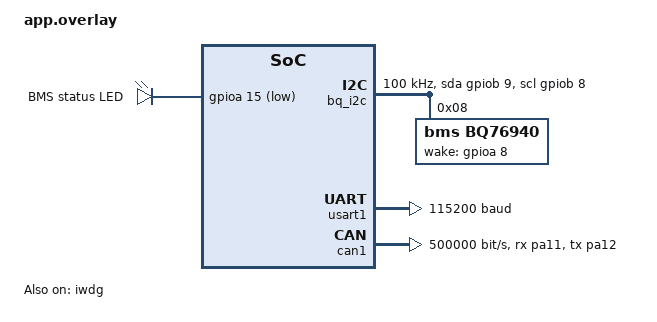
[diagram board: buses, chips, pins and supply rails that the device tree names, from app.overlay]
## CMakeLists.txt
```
cmake_minimum_required(VERSION 3.20.0)

# 项目自带 devicetree binding(dts/bindings/afe/*.yaml)
list(APPEND DTS_ROOT ${CMAKE_CURRENT_SOURCE_DIR})

find_package(Zephyr REQUIRED HINTS $ENV{ZEPHYR_BASE})
project(FlexLoVoBMS)

# 头文件与源文件同住各层文件夹(模块=一个文件夹)。include 根 = src + drivers,
# 于是每行 #include 都带层前缀(如 "afe/bms_afe.h"、"sensor/bms_ntc.h"、"algo/...")
# ——依赖关系写在脸上:打开任一 .c 的 include 列表就是它"依赖哪些层"的地图。
target_include_directories(app PRIVATE src drivers)

target_sources(app PRIVATE
    src/main.c
    # 应用层 - 纯函数算法/策略(可主机侧单测)
    src/algo/bms_protection_policy.c
    src/algo/bms_charge_policy.c
    src/algo/bms_balance_policy.c
    src/algo/bms_energy_estimator.c
    src/algo/bms_protocol_codec.c
    src/algo/bms_diag_format.c
    # 应用层 - 任务编排
    src/tasks/sample_task.c
    src/tasks/fault_protection_task.c
    src/tasks/charge_state_task.c
    src/tasks/balance_task.c
    src/tasks/soc_energy_task.c
    src/tasks/can_comm_task.c
    src/tasks/comm_diag_task.c
    src/tasks/auxiliary_task.c
    # 应用层 - 共享设施(状态仓库/心跳/装配根共享对象)
    src/core/bms_state_store.c
    src/core/bms_heartbeat.c
    src/core/app_objects.c
    src/core/bms_ota_boot.c
    # 设备驱动层 - AFE 接口(dispatch,vtable 派发,自身不碰硬件)+ 具体设备,同住 drivers/afe/
    drivers/afe/bms_afe.c
    # 设备驱动层 - BQ769x0 家族核 + 每芯片薄驱动(认领 compatible)
    drivers/afe/bq769x0_core.c
    drivers/afe/bms_bq76940.c
    drivers/afe/bms_bq76930.c
    # 设备驱动层 - BQ79616-Q1 车规局链骨架(未写完,见 TODO(bq79616))
    drivers/afe/bms_bq79616.c
    # 传感器层 - NTC 热敏电阻 mV->温度换算(与 AFE 芯片解耦)
    drivers/sensor/bms_ntc.c
    # 指示层 - 状态灯(GPIO 闪烁 / PWM 呼吸,编译期二选一)
    drivers/indicator/bms_status_led.c
)

if(CONFIG_BMS_TEST_TELEMETRY)
    target_sources(app PRIVATE src/core/bms_test_telemetry.c)
endif()

# ==========================================================================
# 依赖注入机制——第 0 层（构建系统侧）：登记自定义 linker 段
# ==========================================================================
#
# zephyr_linker_sources 将 app_task_iterable.ld 合并到最终链接脚本中，
# 从而登记 app_task_def 这个 iterable section。
#
# 少了这一行，链接器不认识 app_task_def 段，STRUCT_SECTION_FOREACH 的
# _start / _end 符号未定义，直接链接失败。
#
# app_task_iterable.ld 内部用 ITERABLE_SECTION_RAM 宏（Zephyr 提供），
# 效果等价于手写：
#     .app_task_def : {
#         _app_task_def_list_start = .;
#         KEEP(*(SORT_BY_NAME(.app_task_def.*)));
#         _app_task_def_list_end = .;
#     } > RAM
#
# 而 APP_TASK_REGISTER 宏中的 STRUCT_SECTION_ITERABLE 将每个任务条目
# 放入 `.app_task_def.<name>` 段中，链接器自动收集并排序。
zephyr_linker_sources(DATA_SECTIONS app_task_iterable.ld)
```

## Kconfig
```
mainmenu "BMS Firmware"

config BMS_TEST_TELEMETRY
	bool "Enable test-only runtime telemetry"
	default n
	help
	  Emit machine-readable thread stack and scheduler samples for the
	  Renode test dashboard. Keep this disabled in shipping builds.

config BMS_TEST_SKIP_WATCHDOG_FEED
	bool "Skip watchdog feeds for reset testing"
	default n
	depends on BMS_TEST_TELEMETRY
	help
	  Keep the application tasks running but intentionally stop feeding the
	  watchdog. This is only for a deliberate watchdog-reset test image.

source "Kconfig.zephyr"
```

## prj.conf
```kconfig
# 平台能力开关归 Kconfig;业务参数归 src/config/appconfig.h
CONFIG_SERIAL=y
CONFIG_CONSOLE=y
CONFIG_UART_CONSOLE=y
CONFIG_PRINTK=y
CONFIG_I2C=y
CONFIG_GPIO=y
CONFIG_CAN=y
# OTA:ENTER_OTA 命令用 sys_reboot() 冷复位到 Bootloader
CONFIG_REBOOT=y

# BQ76940 走软件 I2C(GPIO 位翻转,见 app.overlay 的 gpio-i2c 节点)。
# CONFIG_I2C_GPIO 不在此硬写:它在 devicetree 有 gpio-i2c 节点时 default y
# 自动开,仿真切到硬件 I2C overlay 时自动关,避免 Kconfig 冲突。
# 时钟延展保持默认开(真机 BQ 可能拉 SCL)。

CONFIG_MULTITHREADING=y
CONFIG_EVENTS=y
CONFIG_MAIN_STACK_SIZE=768
CONFIG_IDLE_STACK_SIZE=256
CONFIG_ISR_STACK_SIZE=768

CONFIG_HEAP_MEM_POOL_SIZE=0
CONFIG_TIMESLICING=n
CONFIG_LOG=n
CONFIG_ASSERT=n
CONFIG_BOOT_BANNER=n
CONFIG_BOOT_DELAY=0
CONFIG_SYSTEM_WORKQUEUE_STACK_SIZE=512

CONFIG_NEWLIB_LIBC=n
CONFIG_MINIMAL_LIBC=y

# 看门狗由 AuxiliaryTask 管理，只有预期任务心跳全部正常时才喂狗。
CONFIG_WATCHDOG=y
```

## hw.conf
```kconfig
# Hardware-only Kconfig, layered by build.ps1 -Hardware (see hw.overlay for the
# matching devicetree). Renode models no DMA controller, so the sim build must
# NOT enable these -- comm_diag falls back to uart_poll_out there.
#
# UART async + DMA: diagnostic SNAP is transmitted by DMA instead of a per-byte
# uart_poll_out busy-wait, freeing the comm_diag thread (priority 7) from
# spinning ~22ms per snapshot at 115200.
CONFIG_UART_ASYNC_API=y
CONFIG_DMA=y

# OTA:App 运行在 Bootloader 之后(BL 4KB + 头 1KB),镜像基址 0x08001400。
# 一旦启用,App 必须由 Bootloader 引导才能启动(不能再直接烧到 0x08000000 独立跑)。
CONFIG_FLASH_LOAD_OFFSET=0x1400
```

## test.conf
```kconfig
# Test-only observability. This file is loaded by build.ps1 -TestInstrumentation.
CONFIG_BMS_TEST_TELEMETRY=y
CONFIG_ASSERT=y
CONFIG_THREAD_NAME=y
CONFIG_THREAD_ANALYZER=y
CONFIG_THREAD_ANALYZER_AUTO=n
CONFIG_THREAD_ANALYZER_USE_PRINTK=y
CONFIG_THREAD_ANALYZER_PRINT_THREAD_PRIORITY=y
CONFIG_THREAD_ANALYZER_RUN_UNLOCKED=n
CONFIG_STACK_SENTINEL=y
CONFIG_THREAD_RUNTIME_STATS=n
CONFIG_WATCHDOG=y
```

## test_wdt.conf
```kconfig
# Test-only deliberate watchdog expiry image.
CONFIG_BMS_TEST_TELEMETRY=y
CONFIG_BMS_TEST_SKIP_WATCHDOG_FEED=y
CONFIG_ASSERT=y
CONFIG_THREAD_NAME=y
CONFIG_THREAD_ANALYZER=y
CONFIG_THREAD_ANALYZER_AUTO=n
CONFIG_THREAD_ANALYZER_USE_PRINTK=y
CONFIG_THREAD_ANALYZER_PRINT_THREAD_PRIORITY=y
CONFIG_THREAD_ANALYZER_RUN_UNLOCKED=n
CONFIG_STACK_SENTINEL=y
CONFIG_THREAD_RUNTIME_STATS=n
CONFIG_WATCHDOG=y
```

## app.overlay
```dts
/*
 * 板级 devicetree overlay:只放硬件事实(引脚/地址/时钟/芯片参数)。
 * Based on docs/board-facts/pinmap.json and bq76940_config.json.
 * 主控 = STM32F103C8T6(原理图 U1,LQFP48,64K/20K,板载 8MHz HSE 晶振 CRY1)。
 *
 * 时钟当前走 HSI 8MHz:Renode 仿真平台不模拟 HSE 晶振就绪位。
 * 真机 bring-up 时把下面的"仿真时钟"整块注释掉、启用"真机时钟"整块即可
 * (HSE 8MHz -> PLL x9 = 72MHz 满速);业务代码零改动,这就是时钟事实进
 * 设备树的用武之地。
 */

/* ==== 仿真时钟(默认):HSI 8MHz,无 PLL ==== */
&clk_hse {
	status = "disabled";
};

&pll {
	status = "disabled";
};

&clk_hsi {
	status = "okay";
};

&rcc {
	clocks = <&clk_hsi>;
	clock-frequency = <8000000>;
	ahb-prescaler = <1>;
	apb1-prescaler = <1>;
	apb2-prescaler = <1>;
};

/*
 * ==== 真机时钟(HSE 8MHz -> PLL x9 -> 72MHz)====
 * 不在此处手动注释切换(易出错)。真机构建用 `build.ps1 -Hardware`,
 * 它把 hw.overlay 叠加在本文件之后、覆盖上面的仿真时钟块。
 * 板级来源与时钟事实见 docs/board-facts/bms_board_facts.md。
 */

/ {
	aliases {
		bms-afe = &bq76940;
		bms-can = &can1;
		led-status = &led_status;
	};

	leds {
		compatible = "gpio-leds";

		/*
		 * 状态灯 = 板载 D3,接 PA15(发货原理图网络名 Ctrl_LED),**低有效**:
		 * 3.3V -> R9(470R) -> D3 -> PA15,PA15 拉低才点亮。
		 * PA15 是 JTDI,要当 GPIO 必须关 JTAG(见下面 &pinctrl 的 swj-cfg,
		 * 保留 SWD、不影响 ST-Link)。BQ7694003_DEMO 板上 PB13/14/15 未接灯
		 * (PB15 是 DISPLAY_POWER_EN),所以状态灯只能用 PA15/D3。
		 */
		led_status: led_1 {
			gpios = <&gpioa 15 GPIO_ACTIVE_LOW>;
			label = "BMS status LED";
		};
	};
};

/*
 * 关 JTAG-DP、保留 SW-DP(SWD):释放 PA15/PB3/PB4 作普通 GPIO。
 * 状态灯 D3 在 PA15(JTDI),没这一步 PA15 停在 JTAG 复用、驱动不了灯。
 * SWD 仍在,ST-Link 烧录/调试不受影响。
 */
&pinctrl {
	swj-cfg = "jtag-disable";
};

/* 调试口:USART1 PA9/PA10 115200(与 vendor 工程一致) */
&usart1 {
	current-speed = <115200>;
	status = "okay";
};

/*
 * BQ76940 走软件(GPIO 位翻转)I2C,不用硬件 I2C1 外设。
 * 依据:发货板 pinmap.json 明确 bq_i2c1_bitbang = gpio_open_drain_bitbang(PB8/PB9);
 * 且 BQ769x0 家族 I2C 对时钟延展/CRC/重复起始时序敏感,vendor 就是用位翻转
 * 换取时序完全可控。硬件 I2C1 外设在此释放,PB8/PB9 交给 Zephyr gpio-i2c 驱动。
 * SDA/SCL 都是开漏,真机需外部上拉(发货板已有)。
 */
&i2c1 {
	status = "disabled";
};

/* STM32F103 IWDG is used by AuxiliaryTask and must exist in simulation too. */
&iwdg {
	status = "okay";
};

/ {
	bq_i2c: gpio-i2c {
		compatible = "gpio-i2c";
		status = "okay";
		clock-frequency = <I2C_BITRATE_STANDARD>; /* 100k,与 vendor 位翻转同档 */
		scl-gpios = <&gpiob 8 (GPIO_ACTIVE_HIGH | GPIO_OPEN_DRAIN)>;
		sda-gpios = <&gpiob 9 (GPIO_ACTIVE_HIGH | GPIO_OPEN_DRAIN)>;
		#address-cells = <1>;
		#size-cells = <0>;

		bq76940: bq76940@8 {
			compatible = "bms,bq76940";
			reg = <0x08>;
			status = "okay";
			/*
			 * BQ76940 物理 15 个采样口;发货源码按下列 VC 槽位检查
			 * 9 个实接电芯,不是顺序使用 VC1..VC9。
			 * cell-count 是"交给算法的逻辑电芯数",不是芯片口数。
			 * current-lsb-ua = 2110:BoardFacts 电流换算 2.11 mA/LSB。
			 */
			cell-count = <9>;
			cell-channels = <1 2 5 6 7 10 11 12 15>;
			temp-count = <2>;
			wake-gpios = <&gpioa 8 GPIO_ACTIVE_HIGH>;
			current-lsb-ua = <2110>;
		};
	};
};

/* CAN1 @ PA11/PA12,500 kbit/s 扩展帧(BoardFacts can 节) */
&can1 {
	status = "okay";
	pinctrl-0 = <&can_rx_pa11 &can_tx_pa12>;
	pinctrl-names = "default";
	bitrate = <500000>;
};

/* 未使用外设关掉,省 ROM/RAM;USB 与 CAN 在 F103 上互斥 */
&usb {
	status = "disabled";
};

&usart2 {
	status = "disabled";
};

&usart3 {
	status = "disabled";
};

&i2c2 {
	status = "disabled";
};

&spi1 {
	status = "disabled";
};

&spi2 {
	status = "disabled";
};
```

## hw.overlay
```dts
#include <zephyr/dt-bindings/dma/stm32_dma.h>

/*
 * ============================================================================
 * 真机时钟树 overlay(bring-up 专用)
 * ============================================================================
 *
 * 与仿真互斥:仿真默认走 app.overlay 里的 HSI 8MHz(Renode 不完整建模
 * HSE/PLL);真机构建用 build.ps1 -Hardware 叠加本文件,把时钟切到
 * HSE -> PLL x9 -> 72MHz。板载 CRY1 = 8MHz HSE 晶振(发货原理图 / BoardFacts)。
 *
 * 时钟树目标:
 *   HSE 8MHz --(PLLXTPRE 不分频)--> PLL 输入 8MHz --(x9)--> SYSCLK 72MHz
 *   AHB  /1 -> HCLK  72MHz
 *   APB1 /2 -> PCLK1 36MHz   (APB1 上限 36MHz;APB1 定时器仍 72MHz)
 *   APB2 /1 -> PCLK2 72MHz
 *   Flash 72MHz => 2 wait states
 *
 * 选 72MHz 的理由:
 *   1. CAN 500k 位时序对时钟精度敏感,必须走 HSE 晶振(HSI ±1% 不满足);
 *      PCLK1=36MHz 能整除出干净的 CAN 位时序。
 *   2. 软件 I2C 位翻转、采样节拍在 72MHz 下才有足够余量(8MHz 下采样吃满周期)。
 *   3. 这是 F103C8T6 的标称满速,厂家发货固件也是 72MHz。
 *
 * 板级来源与时钟事实见 docs/board-facts/bms_board_facts.md。
 */

&clk_hse {
	clock-frequency = <8000000>;
	status = "okay";
};

&pll {
	mul = <9>;
	clocks = <&clk_hse>;
	status = "okay";
};

&rcc {
	clocks = <&pll>;
	clock-frequency = <72000000>;
	ahb-prescaler = <1>;
	apb1-prescaler = <2>;
	apb2-prescaler = <1>;
};

/*
 * 诊断串口 DMA 发送(真机专用):USART1_TX 固定挂 DMA1 通道 4(F103 通道映射)。
 * Renode 不建模 DMA,故仅 -Hardware 构建叠加本节 + hw.conf 打开 UART_ASYNC_API;
 * 仿真构建不带这些,comm_diag 退回 poll_out(见 comm_diag_task.c 的 #if 分支)。
 */
&dma1 {
	status = "okay";
};

&usart1 {
	dmas = <&dma1 4 (STM32_DMA_PERIPH_TX | STM32_DMA_PRIORITY_HIGH)>;
	dma-names = "tx";
};
```

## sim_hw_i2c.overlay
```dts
/*
 * 仿真专用 overlay:把 BQ76940 从软件 gpio-i2c 切回硬件 I2C1。
 *
 * 为什么需要它:真机固件(app.overlay)走软件 I2C,与发货板位翻转一致;
 * 但 Renode 的 STM32 GPIO 模型不会把"从机拉低的 SDA"反射进 IDR 读回,而
 * Zephyr 的 gpio-i2c 正是读 IDR 采 SDA(vendor StdPeriph 固件靠 hook
 * GPIO_ReadInputDataBit 绕过,Zephyr 没有这个符号)。所以位翻转路径无法在
 * Renode 里跑通。
 *
 * 折衷:仿真用硬件 I2C1 的 DummyI2CSlave 路径做**数值等价**回归——BQ 驱动的
 * 寄存器切面、CRC、单位换算与传输方式无关,硬件/软件 I2C 读到的寄存器值相同。
 * 位翻转传输本身是 Zephyr 自带驱动(非本项目代码),留待真机验证。
 *
 * 用法:仅 Renode 冒烟构建时通过 EXTRA_DTC_OVERLAY_FILE 叠加本文件;
 * 普通构建/真机不带它,默认软件 I2C。
 */

/* 关掉软件 I2C 总线 + 其上的 BQ 子节点(释放 PB8/PB9,避免驱动去实例化
 * 依赖被禁总线的节点导致链接期 device ordinal 未定义) */
&bq_i2c {
	status = "disabled";
};

&bq76940 {
	status = "disabled";
};

/* 硬件 I2C1 remap PB8/PB9,挂一份等价的 BQ76940 节点 */
&i2c1 {
	status = "okay";
	clock-frequency = <I2C_BITRATE_FAST>;
	pinctrl-0 = <&i2c1_scl_remap1_pb8 &i2c1_sda_remap1_pb9>;
	pinctrl-names = "default";

	bq76940_hw: bq76940@8 {
		compatible = "bms,bq76940";
		reg = <0x08>;
		status = "okay";
		cell-count = <9>;
		cell-channels = <1 2 5 6 7 10 11 12 15>;
		temp-count = <2>;
		wake-gpios = <&gpioa 8 GPIO_ACTIVE_HIGH>;
		current-lsb-ua = <2110>;
	};
};

/* 把 AFE 别名指向硬件 I2C 上的实例 */
/ {
	aliases {
		bms-afe = &bq76940_hw;
	};
};
```

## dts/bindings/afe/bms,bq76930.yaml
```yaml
description: |
  TI BQ76930 battery monitor AFE (BQ769x0 family, 6-10 series cells, I2C).
  Same register interface as BQ76940; driven by the shared family core
  (drivers/afe/bq769x0_core.c) through bms_afe_driver_api.

compatible: "bms,bq76930"

include: i2c-device.yaml

properties:
  cell-count:
    type: int
    required: true
    description: Number of logical series cells exposed to the application.

  cell-channels:
    type: array
    required: true
    description: |
      1-based BQ769x0 VC channel number for each logical series cell
      (physical wiring map). Length must equal cell-count.

  temp-count:
    type: int
    required: true
    description: Number of thermistor channels exposed to the application.

  current-lsb-ua:
    type: int
    required: true
    description: Coulomb counter LSB in microamps (board sense resistor fact).

  wake-gpios:
    type: phandle-array
    description: Optional boot pulse GPIO used to wake the AFE.
```

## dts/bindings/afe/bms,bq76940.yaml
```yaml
description: |
  TI BQ76940 battery monitor AFE, driven by the project's own
  bms_afe_driver_api (drivers/afe/bms_bq76940.c).

compatible: "bms,bq76940"

include: i2c-device.yaml

properties:
  cell-count:
    type: int
    required: true
    description: |
      Number of logical series cells exposed to the application
      (the chip itself has 15 physical VC channels).

  cell-channels:
    type: array
    required: true
    description: |
      1-based BQ76940 VC channel number for each logical series cell.
      The shipping source checks VC1, VC2, VC5, VC6, VC7, VC10,
      VC11, VC12 and VC15 for the actual 9-cell assembly.

  temp-count:
    type: int
    required: true
    description: Number of thermistor channels exposed to the application.

  current-lsb-ua:
    type: int
    required: true
    description: Coulomb counter LSB in microamps (board sense resistor fact).

  wake-gpios:
    type: phandle-array
    description: Optional TS1 boot pulse GPIO used to wake the AFE.
```

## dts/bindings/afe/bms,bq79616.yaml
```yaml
description: |
  TI BQ79616-Q1 automotive battery monitor (up to 16 series cells) reached over
  an isolated differential daisy-chain (UART), NOT I2C. Skeleton driver
  (drivers/afe/bms_bq79616.c) that implements the same bms_afe_driver_api as the
  BQ769x0 family — proving the AFE interface is transport-agnostic. Daisy-chain
  protocol body is a placeholder (see TODO(bq79616) markers).

compatible: "bms,bq79616"

include: base.yaml

properties:
  uart:
    type: phandle
    required: true
    description: Daisy-chain differential UART device on the base (host) side.

  cell-count:
    type: int
    required: true
    description: Number of logical series cells exposed to the application.

  cell-channels:
    type: array
    required: true
    description: 1-based VC channel number for each logical series cell.

  temp-count:
    type: int
    required: true
    description: Number of thermistor/AUX channels exposed to the application.

  chain-position:
    type: int
    description: This device's position/address in the daisy chain.
```

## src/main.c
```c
#include "config/app_task.h"
#include "core/app_objects.h"

#include <zephyr/kernel.h>

/*
 * ==========================================================================
 * 依赖注入机制——第 3 层：装配入口（Assembly Entry）
 * ==========================================================================
 *
 * 【main.c 的角色——"装配根"（Composition Root）】
 *
 * 在依赖注入架构中，main() 是唯一一处"知道全局"的地方。它负责两个步骤：
 *
 *   步骤1：构造（Construct）    步骤2：接线 + 启动（Wire & Start）
 *   ──────────────────────      ─────────────────────────────────
 *   app_objects_init()           STRUCT_SECTION_FOREACH(app_task_def, t) {
 *     ├─ k_event_init              t->bind_fn()    ← 注入依赖
 *     ├─ bms_heartbeat_init        k_thread_create ← 启动线程
 *     └─ ...                     }
 *
 *   问题：对象从无到有              问题：谁需要什么对象？
 *   答案：只有这里有答案            答案：每个任务自己知道（自注册 + bind_wrapper）
 *
 * 这就是"依赖注入"四个字的含义——main() 不再硬编码"sample_task 需要 app_afe
 * 和 app_state_store"这种知识，而是让每个任务自己声明需要什么。main() 只管
 * 遍历 + 绑定 + 启动。
 *
 *
 * 【和传统单片机固件 main() 的对比】
 *
 *   传统写法：
 *     int main(void) {
 *         hal_init();
 *         #if ENABLE_FEATURE_A
 *         task_a_init(&global_x, &global_y);
 *         k_thread_create(&task_a_thread, ...);
 *         #endif
 *         #if ENABLE_FEATURE_B
 *         task_b_init_only_global_z();
 *         k_thread_create(&task_b_thread, ...);
 *         #endif
 *         // 每加一个功能就要加一段 #if ... #endif
 *     }
 *
 *   问题：main() 随功能增多线性膨胀，条件编译散落各处。
 *
 *   本项目写法：
 *     int main(void) {
 *         app_objects_init();                   // 构造
 *         STRUCT_SECTION_FOREACH(app_task_def, task) {
 *             task->bind_fn();                  // 注入依赖
 *             k_thread_create(...);             // 启动线程
 *         }
 *     }
 *
 *   这个循环永远不变。加功能 = 加任务文件 + APP_TASK_REGISTER，
 *   编译器自动把新条目链接到 app_task_def 段中。
 *
 *
 * 【启动失败策略】
 *   - app_objects_init() 失败 → 业务对象构造失败（如互斥锁故障），立即 return
 *   - bind_fn() 失败 → 某个任务的依赖校验不通过（如必需的设备不存在），立即 return
 *
 *   两者都会导致 main() 返回 -1，系统不会启动任何任务线程。在嵌入式场景中
 *   这意味着系统停摆——可以考虑在这里加一个死循环 + 看门狗复位，但当前版本
 *   选择"快速失败"，让问题在开发阶段暴露。
 */
int main(void)
{
	/*
	 * 步骤1：构造所有共享对象。
	 * 这里只造零件，不管谁用。零件清单见 app_objects.c。
	 */
	if (app_objects_init() != 0) {
		/* 基础业务对象构造失败（如互斥锁），不可恢复 */
		return -1;
	}

	/*
	 * 步骤2：遍历链接器收集的任务表，逐一接线并启动。
	 *
	 * STRUCT_SECTION_FOREACH 利用链接器提供的 _start / _end 符号，
	 * 遍历 app_task_def 段中的所有条目。每个条目来自不同 .c 文件中的
	 * APP_TASK_REGISTER 宏——main.c 不关心有几个任务、是什么任务。
	 *
	 * bind_fn() 内部调用 *_bind_wrapper()，本质是：
	 *     some_task_bind(&app_afe, &app_state_store, &app_events, ...)
	 * 把共享全局对象"注入"到任务文件的 static 变量中。
	 *
	 * bind 成功后才启动线程。如果某个任务的依赖校验失败，系统不会
	 * 半启动（前面的任务也不会回滚——嵌入式固件不做事务性启动）。
	 */
	STRUCT_SECTION_FOREACH(app_task_def, task) {
		if ((task->bind_fn != NULL) && (task->bind_fn() != 0)) {
			/* 依赖注入失败：某个任务的必需依赖不满足 */
			return -1;
		}
		k_thread_create(task->thread, task->stack, task->stack_size,
				task->entry, NULL, NULL, NULL,
				task->priority, 0, K_NO_WAIT);
		k_thread_name_set(task->thread, task->name);
	}

	/*
	 * main 退场，剩下的工作由各业务线程接管。
	 * Zephyr 的 main 线程退出后不会回收——它只是不再参与调度。
	 */
	return 0;
}
```
